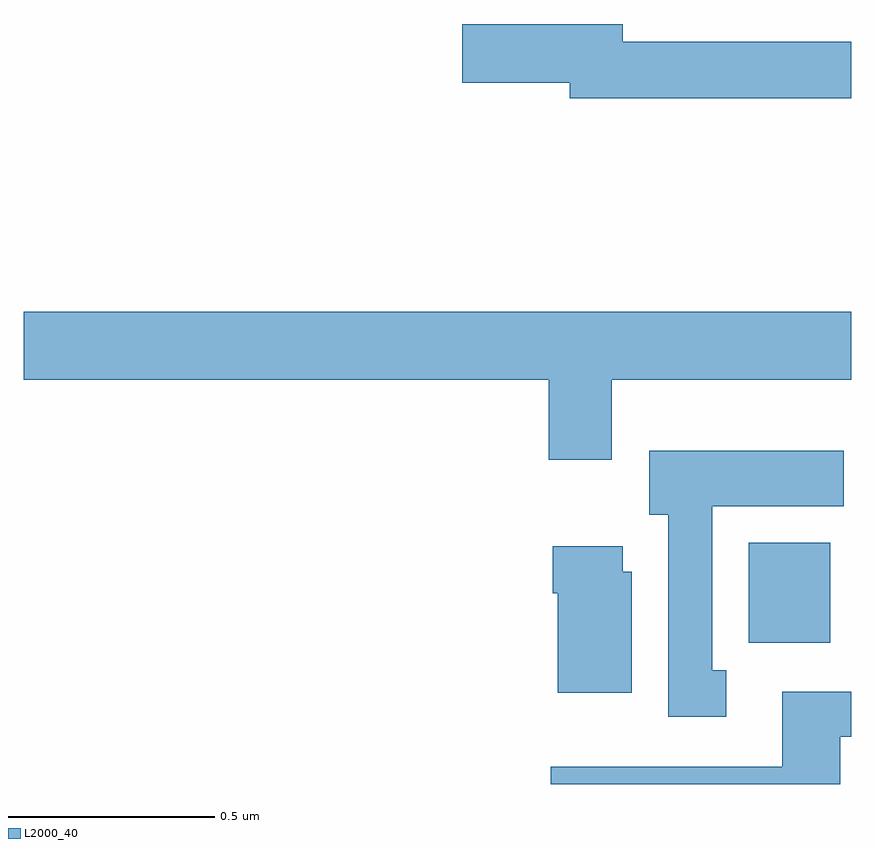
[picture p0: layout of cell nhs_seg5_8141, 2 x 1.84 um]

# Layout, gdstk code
import gdstk
lib = gdstk.Library(unit=1e-6, precision=1e-09)
def R(c, l, rs):  # rectangles x0, y0, x1, y1
    for r in rs: c.add(gdstk.rectangle(r[:2], r[2:], *l))
def P(c, l, *ps):  # polygons
    for p in ps: c.add(gdstk.Polygon(p, *l))
L2000_40 = (2000, 40)

nhs_seg5_8141 = lib.new_cell('nhs_seg5_8141')
R(nhs_seg5_8141, L2000_40, [(219.752,840.14,219.949,840.382)])
P(nhs_seg5_8141, L2000_40, [(220,841.592),(219.448,841.592),(219.448,841.635),(219.06,841.635),(219.06,841.493),(219.32,841.493),(219.32,841.456),(220,841.456)],
  [(218,840.776),(219.269,840.776),(219.269,840.582),(219.421,840.582),(219.421,840.776),(220,840.776),(220,840.94),(218,840.94)],
  [(219.697,840.074),(219.664,840.074),(219.664,840.47),(219.982,840.47),(219.982,840.604),(219.512,840.604),(219.512,840.45),(219.557,840.45),(219.557,839.961),(219.697,839.961)],
  [(219.469,840.312),(219.448,840.312),(219.448,840.373),(219.278,840.373),(219.278,840.26),(219.29,840.26),(219.29,840.02),(219.469,840.02)],
  [(219.973,839.913),(220,839.913),(220,840.022),(219.833,840.022),(219.833,839.841),(219.273,839.841),(219.273,839.799),(219.973,839.799)])

lib.write_gds('nhs_seg5_8141.gds')
